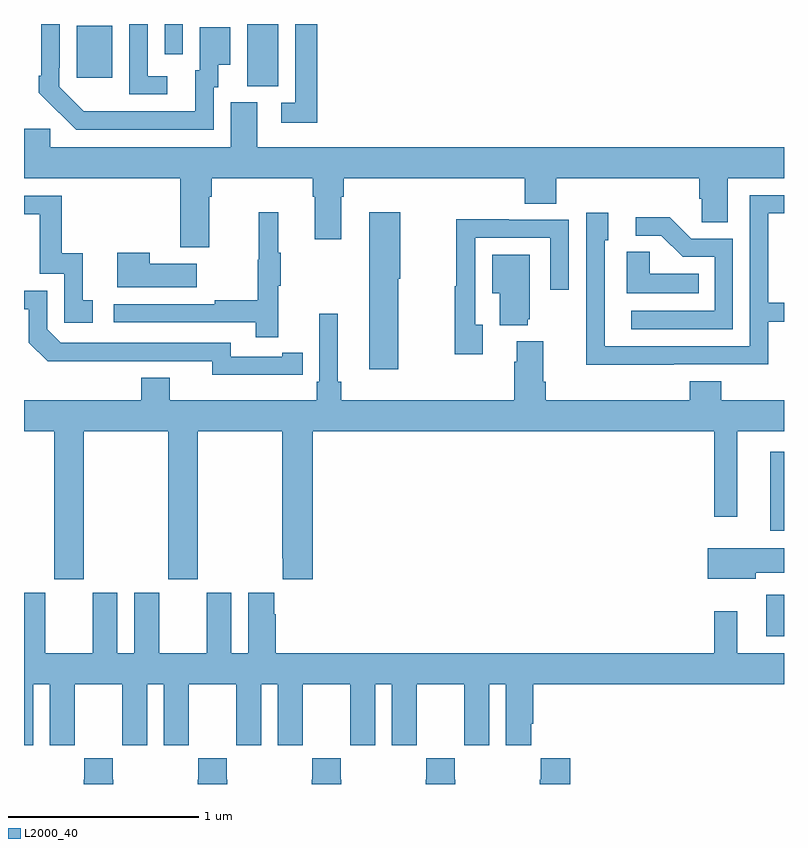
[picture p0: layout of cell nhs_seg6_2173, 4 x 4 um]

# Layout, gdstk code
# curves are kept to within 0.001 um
import gdstk
lib = gdstk.Library(unit=1e-6, precision=1e-09)
def R(c, l, rs):  # rectangles x0, y0, x1, y1
    for r in rs: c.add(gdstk.rectangle(r[:2], r[2:], *l))
def P(c, l, *ps):  # polygons
    for p in ps: c.add(gdstk.Polygon(p, *l))
L2000_40 = (2000, 40)

nhs_seg6_2173 = lib.new_cell('nhs_seg6_2173')
R(nhs_seg6_2173, L2000_40, [(244.907,926.277,245,926.497), (244.928,926.834,245,927.25), (242.174,929.173,242.338,929.5), (241.277,929.217,241.465,929.491), (241.74,929.34,241.836,929.5)])
P(nhs_seg6_2173, L2000_40, [(241.998,929.166),(242.023,929.166),(242.023,929.285),(242.086,929.285),(242.086,929.482),(241.925,929.482),(241.925,929.256),(241.901,929.256),(241.901,929.04),(241.314,929.041),(241.185,929.169),(241.185,929.269),(241.188,929.269),(241.188,929.5),(241.092,929.5),(241.092,929.227),(241.077,929.227),(241.077,929.139),(241.274,928.944),(241.998,928.944)],
  [(242.543,929.5),(242.427,929.5),(242.427,929.085),(242.355,929.085),(242.355,928.98),(242.543,928.98)],
  [(241.753,929.226),(241.65,929.226),(241.65,929.5),(241.554,929.5),(241.554,929.13),(241.753,929.13)],
  [(242.519,928.592),(242.531,928.592),(242.531,928.368),(242.671,928.368),(242.671,928.592),(242.684,928.592),(242.684,928.688),(243.635,928.688),(243.635,928.555),(243.8,928.555),(243.8,928.688),(244.553,928.688),(244.553,928.579),(244.566,928.579),(244.566,928.456),(244.705,928.456),(244.705,928.688),(245,928.688),(245,928.852),(242.227,928.852),(242.227,929.088),(242.087,929.088),(242.087,928.852),(241.137,928.852),(241.137,928.95),(241,928.95),(241,928.688),(241.823,928.688),(241.823,928.326),(241.975,928.326),(241.975,928.592),(241.988,928.592),(241.988,928.688),(242.519,928.688)],
  [(244.421,927.708),(244.917,927.708),(244.917,927.933),(245,927.933),(245,928.034),(244.917,928.034),(244.917,928.503),(245,928.503),(245,928.599),(244.821,928.599),(244.821,927.804),(244.056,927.804),(244.056,928.362),(244.075,928.362),(244.075,928.507),(243.96,928.507),(243.96,928.013),(243.958,928.013),(243.958,927.707),(244.421,927.707)],
  [(241.363,928.047),(241.31,928.047),(241.31,928.294),(241.199,928.294),(241.199,928.596),(241,928.596),(241,928.5),(241.083,928.5),(241.083,928.185),(241.212,928.185),(241.212,927.927),(241.363,927.927)],
  [(242.97,928.158),(242.98,928.158),(242.98,928.51),(242.816,928.51),(242.816,927.684),(242.97,927.684)],
  [(242.339,928.123),(242.35,928.123),(242.35,928.297),(242.339,928.297),(242.339,928.51),(242.236,928.51),(242.236,928.26),(242.229,928.26),(242.229,928.046),(242.005,928.046),(242.005,928.026),(241.473,928.026),(241.473,927.93),(242.221,927.93),(242.221,927.852),(242.339,927.852)],
  [(244.731,928.371),(244.512,928.371),(244.399,928.484),(244.221,928.484),(244.221,928.386),(244.355,928.386),(244.466,928.275),(244.635,928.275),(244.635,927.99),(244.197,927.99),(244.197,927.894),(244.731,927.894)],
  [(243.415,927.918),(243.375,927.918),(243.375,928.374),(243.771,928.374),(243.771,928.101),(243.867,928.101),(243.867,928.47),(243.551,928.47),(243.551,928.472),(243.274,928.472),(243.274,928.121),(243.267,928.121),(243.267,927.762),(243.415,927.762)],
  [(244.55,928.186),(244.293,928.186),(244.293,928.301),(244.172,928.301),(244.172,928.082),(244.55,928.082)],
  [(241.909,928.237),(241.661,928.237),(241.661,928.297),(241.49,928.297),(241.49,928.115),(241.909,928.115)],
  [(243.65,927.945),(243.661,927.945),(243.661,928.285),(243.464,928.285),(243.464,928.082),(243.503,928.082),(243.503,927.914),(243.65,927.914)],
  [(242.36,927.654),(242.468,927.654),(242.468,927.77),(242.36,927.77),(242.36,927.75),(242.088,927.75),(242.088,927.822),(241.194,927.822),(241.122,927.894),(241.122,928.095),(241,928.095),(241,927.999),(241.026,927.999),(241.026,927.822),(241.124,927.725),(241.992,927.726),(241.992,927.653)],
  [(241.314,927.356),(241.759,927.356),(241.759,926.577),(241.914,926.577),(241.914,927.356),(242.359,927.356),(242.359,926.689),(242.363,926.689),(242.363,926.577),(242.519,926.577),(242.519,927.356),(244.632,927.356),(244.632,926.907),(244.753,926.907),(244.753,927.356),(245,927.356),(245,927.52),(244.67,927.52),(244.67,927.619),(244.505,927.619),(244.505,927.52),(243.746,927.52),(243.746,927.616),(243.733,927.616),(243.733,927.829),(243.593,927.829),(243.593,927.722),(243.581,927.722),(243.581,927.52),(242.669,927.52),(242.669,927.616),(242.65,927.616),(242.65,927.976),(242.553,927.976),(242.553,927.616),(242.54,927.616),(242.54,927.52),(241.768,927.52),(241.768,927.637),(241.616,927.637),(241.616,927.52),(241,927.52),(241,927.356),(241.159,927.356),(241.159,926.577),(241.314,926.577)],
  [(244.852,926.611),(245,926.611),(245,926.74),(244.598,926.74),(244.598,926.579),(244.852,926.579)],
  [(241.048,926.024),(241.136,926.024),(241.136,925.704),(241.266,925.704),(241.266,925.816),(241.267,925.816),(241.267,926.024),(241.517,926.024),(241.517,925.816),(241.518,925.816),(241.518,925.704),(241.648,925.704),(241.648,926.024),(241.736,926.024),(241.736,925.704),(241.866,925.704),(241.866,925.816),(241.867,925.816),(241.867,926.024),(242.117,926.024),(242.117,925.816),(242.118,925.816),(242.118,925.704),(242.248,925.704),(242.248,926.024),(242.336,926.024),(242.336,925.704),(242.466,925.704),(242.466,925.816),(242.467,925.816),(242.467,926.024),(242.717,926.024),(242.717,925.816),(242.718,925.816),(242.718,925.704),(242.848,925.704),(242.848,926.024),(242.936,926.024),(242.936,925.704),(243.066,925.704),(243.066,925.816),(243.067,925.816),(243.067,926.024),(243.317,926.024),(243.317,925.816),(243.318,925.816),(243.318,925.704),(243.448,925.704),(243.448,926.024),(243.536,926.024),(243.536,925.704),(243.67,925.704),(243.67,925.816),(243.68,925.816),(243.68,926.024),(245,926.024),(245,926.188),(244.753,926.188),(244.753,926.41),(244.632,926.41),(244.632,926.188),(242.324,926.188),(242.324,926.393),(242.317,926.393),(242.317,926.506),(242.18,926.506),(242.18,926.188),(242.092,926.188),(242.092,926.506),(241.961,926.506),(241.961,926.188),(241.711,926.188),(241.711,926.506),(241.58,926.506),(241.58,926.188),(241.492,926.188),(241.492,926.506),(241.361,926.506),(241.361,926.188),(241.111,926.188),(241.111,926.506),(241,926.506),(241,925.704),(241.048,925.704)],
  [(243.875,925.636),(243.721,925.636),(243.721,925.523),(243.715,925.523),(243.715,925.5),(243.875,925.5)],
  [(243.27,925.523),(243.267,925.523),(243.267,925.636),(243.117,925.636),(243.117,925.523),(243.115,925.523),(243.115,925.5),(243.27,925.5)],
  [(242.67,925.523),(242.667,925.523),(242.667,925.636),(242.517,925.636),(242.517,925.523),(242.515,925.523),(242.515,925.5),(242.67,925.5)],
  [(242.07,925.523),(242.067,925.523),(242.067,925.636),(241.917,925.636),(241.917,925.523),(241.915,925.523),(241.915,925.5),(242.07,925.5)],
  [(241.47,925.523),(241.467,925.523),(241.467,925.636),(241.317,925.636),(241.317,925.523),(241.315,925.523),(241.315,925.5),(241.47,925.5)])

lib.write_gds('nhs_seg6_2173.gds')
